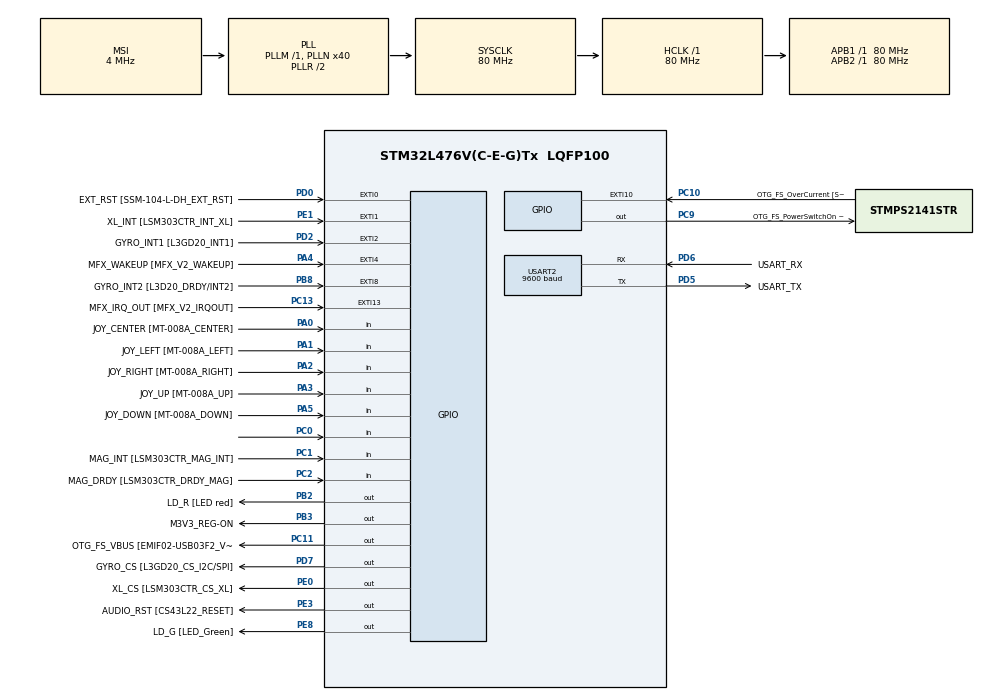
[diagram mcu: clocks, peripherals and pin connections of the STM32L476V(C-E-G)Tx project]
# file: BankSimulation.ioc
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FREERTOS.Tasks01=defaultTask,0,128,StartDefaultTask,Default,NULL
FREERTOS.configTOTAL_HEAP_SIZE=8096
Mcu.Family=STM32L4
Mcu.Name=STM32L476V(C-E-G)Tx
Mcu.Package=LQFP100
NVIC.PriorityGroup=NVIC_PRIORITYGROUP_4
NVIC.TIM1_UP_TIM16_IRQn=true\:0\:0\:false\:false\:true\:false\:false
NVIC.TIM2_IRQn=true\:5\:0\:false\:false\:true\:true\:true
NVIC.TimeBase=TIM1_UP_TIM16_IRQn
NVIC.TimeBaseIP=TIM1
NVIC.USART2_IRQn=true\:5\:0\:false\:false\:true\:true\:true
PA0.GPIO_Label=JOY_CENTER [MT-008A_CENTER]
PA0.GPIO_Mode=GPIO_MODE_INPUT
PA0.GPIO_PuPd=GPIO_PULLDOWN
PA0.Signal=GPIO_Input
PA1.GPIO_Label=JOY_LEFT [MT-008A_LEFT]
PA1.GPIO_Mode=GPIO_MODE_INPUT
PA1.GPIO_PuPd=GPIO_PULLDOWN
PA1.Signal=GPIO_Input
PA10.GPIO_Label=COM2 [GH08172T_COM2]
PA10.GPIO_Mode=GPIO_MODE_AF_PP
PA10.GPIO_PuPd=GPIO_NOPULL
PA10.GPIO_Speed=GPIO_SPEED_FREQ_LOW
PA10.Signal=LCD_COM2
PA11.GPIO_Label=OTG_FS_DM [EMIF02-USB03F2_D-out]
PA11.GPIO_Mode=GPIO_MODE_AF_PP
PA11.GPIO_PuPd=GPIO_NOPULL
PA11.GPIO_Speed=GPIO_SPEED_FREQ_VERY_HIGH
PA11.Signal=USB_OTG_FS_DM
PA12.GPIO_Label=OTG_FS_DP [EMIF02-USB03F2_D+out]
PA12.GPIO_Mode=GPIO_MODE_AF_PP
PA12.GPIO_PuPd=GPIO_NOPULL
PA12.GPIO_Speed=GPIO_SPEED_FREQ_VERY_HIGH
PA12.Signal=USB_OTG_FS_DP
PA13\ (JTMS-SWDIO).GPIO_Label=SWDIO
PA13\ (JTMS-SWDIO).Signal=SYS_JTMS-SWDIO
PA14\ (JTCK-SWCLK).GPIO_Label=SWCLK
PA14\ (JTCK-SWCLK).Signal=SYS_JTCK-SWCLK
PA15\ (JTDI).GPIO_Label=SEG10 [GH08172T_SEG10]
PA15\ (JTDI).GPIO_Mode=GPIO_MODE_AF_PP
PA15\ (JTDI).GPIO_PuPd=GPIO_NOPULL
PA15\ (JTDI).GPIO_Speed=GPIO_SPEED_FREQ_LOW
PA15\ (JTDI).Signal=LCD_SEG17
PA2.GPIO_Label=JOY_RIGHT [MT-008A_RIGHT]
PA2.GPIO_Mode=GPIO_MODE_INPUT
PA2.GPIO_PuPd=GPIO_PULLDOWN
PA2.Signal=GPIO_Input
PA3.GPIO_Label=JOY_UP [MT-008A_UP]
PA3.GPIO_Mode=GPIO_MODE_INPUT
PA3.GPIO_PuPd=GPIO_PULLDOWN
PA3.Signal=GPIO_Input
PA4.GPIO_Label=MFX_WAKEUP [MFX_V2_WAKEUP]
PA4.GPIO_ModeDefaultEXTI=GPIO_MODE_EVT_RISING
PA4.GPIO_PuPd=GPIO_NOPULL
PA4.Signal=GPXTI4
PA5.GPIO_Label=JOY_DOWN [MT-008A_DOWN]
PA5.GPIO_Mode=GPIO_MODE_INPUT
PA5.GPIO_PuPd=GPIO_PULLDOWN
PA5.Signal=GPIO_Input
PA6.GPIO_Label=SEG23 [GH08172T_SEG23]
PA6.GPIO_Mode=GPIO_MODE_AF_PP
PA6.GPIO_PuPd=GPIO_NOPULL
PA6.GPIO_Speed=GPIO_SPEED_FREQ_LOW
PA6.Signal=LCD_SEG3
PA7.GPIO_Label=SEG0 [GH08172T_SEG0]
PA7.GPIO_Mode=GPIO_MODE_AF_PP
PA7.GPIO_PuPd=GPIO_NOPULL
PA7.GPIO_Speed=GPIO_SPEED_FREQ_LOW
PA7.Signal=LCD_SEG4
PA8.GPIO_Label=COM0 [GH08172T_COM0]
PA8.GPIO_Mode=GPIO_MODE_AF_PP
PA8.GPIO_PuPd=GPIO_NOPULL
PA8.GPIO_Speed=GPIO_SPEED_FREQ_LOW
PA8.Signal=LCD_COM0
PA9.GPIO_Label=COM1 [GH08172T_COM1]
PA9.GPIO_Mode=GPIO_MODE_AF_PP
PA9.GPIO_PuPd=GPIO_NOPULL
PA9.GPIO_Speed=GPIO_SPEED_FREQ_LOW
PA9.Signal=LCD_COM1
PB0.GPIO_Label=SEG21 [GH08172T_SEG21]
PB0.GPIO_Mode=GPIO_MODE_AF_PP
PB0.GPIO_PuPd=GPIO_NOPULL
PB0.GPIO_Speed=GPIO_SPEED_FREQ_LOW
PB0.Signal=LCD_SEG5
PB1.GPIO_Label=SEG2 [GH08172T_SEG2]
PB1.GPIO_Mode=GPIO_MODE_AF_PP
PB1.GPIO_PuPd=GPIO_NOPULL
PB1.GPIO_Speed=GPIO_SPEED_FREQ_LOW
PB1.Signal=LCD_SEG6
PB10.GPIO_Label=MFX_I2C_SLC [MFX_V2_I2C_SCL]
PB10.GPIO_Mode=GPIO_MODE_AF_OD
PB10.GPIO_PuPdOD=GPIO_PULLUP
PB10.GPIO_Speed=GPIO_SPEED_FREQ_VERY_HIGH
PB10.Signal=I2C2_SCL
PB11.GPIO_Label=MFX_I2C_SDA [MFX_V2_I2C_SDA]
PB11.GPIO_Mode=GPIO_MODE_AF_OD
PB11.GPIO_PuPdOD=GPIO_PULLUP
PB11.GPIO_Speed=GPIO_SPEED_FREQ_VERY_HIGH
PB11.Signal=I2C2_SDA
PB12.GPIO_Label=SEG20 [GH08172T_SEG20]
PB12.GPIO_Mode=GPIO_MODE_AF_PP
PB12.GPIO_PuPd=GPIO_NOPULL
PB12.GPIO_Speed=GPIO_SPEED_FREQ_LOW
PB12.Signal=LCD_SEG12
PB13.GPIO_Label=SEG3 [GH08172T_SEG3]
PB13.GPIO_Mode=GPIO_MODE_AF_PP
PB13.GPIO_PuPd=GPIO_NOPULL
PB13.GPIO_Speed=GPIO_SPEED_FREQ_LOW
PB13.Signal=LCD_SEG13
PB14.GPIO_Label=SEG19 [GH08172T_SEG19]
PB14.GPIO_Mode=GPIO_MODE_AF_PP
PB14.GPIO_PuPd=GPIO_NOPULL
PB14.GPIO_Speed=GPIO_SPEED_FREQ_LOW
PB14.Signal=LCD_SEG14
PB15.GPIO_Label=SEG4 [GH08172T_SEG4]
PB15.GPIO_Mode=GPIO_MODE_AF_PP
PB15.GPIO_PuPd=GPIO_NOPULL
PB15.GPIO_Speed=GPIO_SPEED_FREQ_LOW
PB15.Signal=LCD_SEG15
PB2.GPIO_Label=LD_R [LED red]
PB2.GPIO_ModeDefaultOutputPP=GPIO_MODE_OUTPUT_PP
PB2.GPIO_PuPd=GPIO_PULLUP
PB2.GPIO_Speed=GPIO_SPEED_FREQ_VERY_HIGH
PB2.Signal=GPIO_Output
PB3\ (JTDO-TRACESWO).GPIO_Label=M3V3_REG-ON
PB3\ (JTDO-TRACESWO).GPIO_ModeDefaultOutputPP=GPIO_MODE_OUTPUT_PP
PB3\ (JTDO-TRACESWO).GPIO_PuPd=GPIO_NOPULL
PB3\ (JTDO-TRACESWO).GPIO_Speed=GPIO_SPEED_FREQ_LOW
PB3\ (JTDO-TRACESWO).Signal=GPIO_Output
PB4\ (NJTRST).GPIO_Label=SEG11 [GH08172T_SEG11]
PB4\ (NJTRST).GPIO_Mode=GPIO_MODE_AF_PP
PB4\ (NJTRST).GPIO_PuPd=GPIO_NOPULL
PB4\ (NJTRST).GPIO_Speed=GPIO_SPEED_FREQ_LOW
PB4\ (NJTRST).Signal=LCD_SEG8
PB5.GPIO_Label=SEG12 [GH08172T_SEG12]
PB5.GPIO_Mode=GPIO_MODE_AF_PP
PB5.GPIO_PuPd=GPIO_NOPULL
PB5.GPIO_Speed=GPIO_SPEED_FREQ_LOW
PB5.Signal=LCD_SEG9
PB6.GPIO_FM6=__NULL
PB6.GPIO_Label=I2C1_SCL [SSM-104-L-DH_SCL]
PB6.GPIO_Mode=GPIO_MODE_AF_OD
PB6.GPIO_PuPdOD=GPIO_PULLUP
PB6.GPIO_Speed=GPIO_SPEED_FREQ_VERY_HIGH
PB6.Signal=I2C1_SCL
PB7.GPIO_FM7=__NULL
PB7.GPIO_Label=I2C1_SDA [SSM-104-L-DH_SDA]
PB7.GPIO_Mode=GPIO_MODE_AF_OD
PB7.GPIO_PuPdOD=GPIO_PULLUP
PB7.GPIO_Speed=GPIO_SPEED_FREQ_VERY_HIGH
PB7.Signal=I2C1_SDA
PB8.GPIO_Label=GYRO_INT2 [L3D20_DRDY/INT2]
PB8.GPIO_ModeDefaultEXTI=GPIO_MODE_EVT_RISING
PB8.GPIO_PuPd=GPIO_NOPULL
PB8.Signal=GPXTI8
PB9.GPIO_FM9=__NULL
PB9.GPIO_Label=COM3 [GH08172T_COM3]
PB9.GPIO_Mode=GPIO_MODE_AF_PP
PB9.GPIO_PuPd=GPIO_NOPULL
PB9.GPIO_Speed=GPIO_SPEED_FREQ_LOW
PB9.Signal=LCD_COM3
PC0.Signal=GPIO_Input
PC1.GPIO_Label=MAG_INT [LSM303CTR_MAG_INT]
PC1.GPIO_Mode=GPIO_MODE_INPUT
PC1.GPIO_PuPd=GPIO_NOPULL
PC1.Signal=GPIO_Input
PC10.GPIO_Label=OTG_FS_OverCurrent [STMPS2141STR_FAULT]
PC10.GPIO_ModeDefaultEXTI=GPIO_MODE_EVT_RISING
PC10.GPIO_PuPd=GPIO_NOPULL
PC10.Signal=GPXTI10
PC11.GPIO_Label=OTG_FS_VBUS [EMIF02-USB03F2_Vbus]
PC11.GPIO_ModeDefaultOutputPP=GPIO_MODE_OUTPUT_PP
PC11.GPIO_PuPd=GPIO_NOPULL
PC11.GPIO_Speed=GPIO_SPEED_FREQ_LOW
PC11.Signal=GPIO_Output
PC13.GPIO_Label=MFX_IRQ_OUT [MFX_V2_IRQOUT]
PC13.GPIO_ModeDefaultEXTI=GPIO_MODE_EVT_RISING
PC13.GPIO_PuPd=GPIO_NOPULL
PC13.Signal=GPXTI13
PC14-OSC32_IN\ (PC14).Signal=RCC_OSC32_IN
PC15-OSC32_OUT\ (PC15).Signal=RCC_OSC32_OUT
PC2.GPIO_Label=MAG_DRDY [LSM303CTR_DRDY_MAG]
PC2.GPIO_Mode=GPIO_MODE_INPUT
PC2.GPIO_PuPd=GPIO_NOPULL
PC2.Signal=GPIO_Input
PC3.GPIO_Label=VLCD
PC3.GPIO_Mode=GPIO_MODE_AF_PP
PC3.GPIO_PuPd=GPIO_NOPULL
PC3.GPIO_Speed=GPIO_SPEED_FREQ_LOW
PC3.Signal=LCD_VLCD
PC4.GPIO_Label=SEG22 [GH08172T_SEG22]
PC4.GPIO_Mode=GPIO_MODE_AF_PP
PC4.GPIO_PuPd=GPIO_NOPULL
PC4.GPIO_Speed=GPIO_SPEED_FREQ_LOW
PC4.Signal=LCD_SEG22
PC5.GPIO_Label=SEG1 [GH08172T_SEG1]
PC5.GPIO_Mode=GPIO_MODE_AF_PP
PC5.GPIO_PuPd=GPIO_NOPULL
PC5.GPIO_Speed=GPIO_SPEED_FREQ_LOW
PC5.Signal=LCD_SEG23
PC6.GPIO_Label=SEG14 [GH08172T_SEG14]
PC6.GPIO_Mode=GPIO_MODE_AF_PP
PC6.GPIO_PuPd=GPIO_NOPULL
PC6.GPIO_Speed=GPIO_SPEED_FREQ_LOW
PC6.Signal=LCD_SEG24
PC7.GPIO_Label=SEG9 [GH08172T_SEG9]
PC7.GPIO_Mode=GPIO_MODE_AF_PP
PC7.GPIO_PuPd=GPIO_NOPULL
PC7.GPIO_Speed=GPIO_SPEED_FREQ_LOW
PC7.Signal=LCD_SEG25
PC8.GPIO_Label=SEG13 [GH08172T_SEG13]
PC8.GPIO_Mode=GPIO_MODE_AF_PP
PC8.GPIO_PuPd=GPIO_NOPULL
PC8.GPIO_Speed=GPIO_SPEED_FREQ_LOW
PC8.Signal=LCD_SEG26
PC9.GPIO_Label=OTG_FS_PowerSwitchOn [STMPS2141STR_EN]
PC9.GPIO_ModeDefaultOutputPP=GPIO_MODE_OUTPUT_PP
PC9.GPIO_PuPd=GPIO_NOPULL
PC9.GPIO_Speed=GPIO_SPEED_FREQ_LOW
PC9.PinState=GPIO_PIN_SET
PC9.Signal=GPIO_Output
PD0.GPIO_Label=EXT_RST [SSM-104-L-DH_EXT_RST]
PD0.GPIO_ModeDefaultEXTI=GPIO_MODE_EVT_RISING
PD0.GPIO_PuPd=GPIO_NOPULL
PD0.Signal=GPXTI0
PD1.GPIO_Label=MEMS_SCK [L3GD20_SCL/SPC]
PD1.GPIO_Mode=GPIO_MODE_AF_PP
PD1.GPIO_PuPd=GPIO_NOPULL
PD1.GPIO_Speed=GPIO_SPEED_FREQ_VERY_HIGH
PD1.Signal=SPI2_SCK
PD10.GPIO_Label=SEG17 [GH08172T_SEG17]
PD10.GPIO_Mode=GPIO_MODE_AF_PP
PD10.GPIO_PuPd=GPIO_NOPULL
PD10.GPIO_Speed=GPIO_SPEED_FREQ_LOW
PD10.Signal=LCD_SEG30
PD11.GPIO_Label=SEG6 [GH08172T_SEG6]
PD11.GPIO_Mode=GPIO_MODE_AF_PP
PD11.GPIO_PuPd=GPIO_NOPULL
PD11.GPIO_Speed=GPIO_SPEED_FREQ_LOW
PD11.Signal=LCD_SEG31
PD12.GPIO_Label=SEG16 [GH08172T_SEG16]
PD12.GPIO_Mode=GPIO_MODE_AF_PP
PD12.GPIO_PuPd=GPIO_NOPULL
PD12.GPIO_Speed=GPIO_SPEED_FREQ_LOW
PD12.Signal=LCD_SEG32
PD13.GPIO_Label=SEG7 [GH08172T_SEG7]
PD13.GPIO_Mode=GPIO_MODE_AF_PP
PD13.GPIO_PuPd=GPIO_NOPULL
PD13.GPIO_Speed=GPIO_SPEED_FREQ_LOW
PD13.Signal=LCD_SEG33
PD14.GPIO_Label=SEG15 [GH08172T_SEG15]
PD14.GPIO_Mode=GPIO_MODE_AF_PP
PD14.GPIO_PuPd=GPIO_NOPULL
PD14.GPIO_Speed=GPIO_SPEED_FREQ_LOW
PD14.Signal=LCD_SEG34
PD15.GPIO_Label=SEG8 [GH08172T_SEG8]
PD15.GPIO_Mode=GPIO_MODE_AF_PP
PD15.GPIO_PuPd=GPIO_NOPULL
PD15.GPIO_Speed=GPIO_SPEED_FREQ_LOW
PD15.Signal=LCD_SEG35
PD2.GPIO_Label=GYRO_INT1 [L3GD20_INT1]
PD2.GPIO_ModeDefaultEXTI=GPIO_MODE_EVT_RISING
PD2.GPIO_PuPd=GPIO_NOPULL
PD2.Signal=GPXTI2
PD3.GPIO_Label=MEMS_MISO [L3GD20_SA0/SDO]
PD3.GPIO_Mode=GPIO_MODE_AF_PP
PD3.GPIO_PuPd=GPIO_NOPULL
PD3.GPIO_Speed=GPIO_SPEED_FREQ_VERY_HIGH
PD3.Signal=SPI2_MISO
PD4.GPIO_Label=MEMS_MOSI [L3GD20_SDA/SDI/SDO]
PD4.GPIO_Mode=GPIO_MODE_AF_PP
PD4.GPIO_PuPd=GPIO_NOPULL
PD4.GPIO_Speed=GPIO_SPEED_FREQ_VERY_HIGH
PD4.Signal=SPI2_MOSI
PD5.GPIO_Label=USART_TX
PD5.GPIO_Mode=GPIO_MODE_AF_PP
PD5.GPIO_PuPd=GPIO_PULLUP
PD5.GPIO_Speed=GPIO_SPEED_FREQ_VERY_HIGH
PD5.Mode=Asynchronous
PD5.Signal=USART2_TX
PD6.GPIO_Label=USART_RX
PD6.GPIO_Mode=GPIO_MODE_AF_PP
PD6.GPIO_PuPd=GPIO_PULLUP
PD6.GPIO_Speed=GPIO_SPEED_FREQ_VERY_HIGH
PD6.Mode=Asynchronous
PD6.Signal=USART2_RX
PD7.GPIO_Label=GYRO_CS [L3GD20_CS_I2C/SPI]
PD7.GPIO_ModeDefaultOutputPP=GPIO_MODE_OUTPUT_PP
PD7.GPIO_PuPd=GPIO_NOPULL
PD7.GPIO_Speed=GPIO_SPEED_FREQ_VERY_HIGH
PD7.Signal=GPIO_Output
PD8.GPIO_Label=SEG18 [GH08172T_SEG18]
PD8.GPIO_Mode=GPIO_MODE_AF_PP
PD8.GPIO_PuPd=GPIO_NOPULL
PD8.GPIO_Speed=GPIO_SPEED_FREQ_LOW
PD8.Signal=LCD_SEG28
PD9.GPIO_Label=SEG5 [GH08172T_SEG5]
PD9.GPIO_Mode=GPIO_MODE_AF_PP
PD9.GPIO_PuPd=GPIO_NOPULL
PD9.GPIO_Speed=GPIO_SPEED_FREQ_LOW
PD9.Signal=LCD_SEG29
PE0.GPIO_Label=XL_CS [LSM303CTR_CS_XL]
PE0.GPIO_ModeDefaultOutputPP=GPIO_MODE_OUTPUT_PP
PE0.GPIO_PuPd=GPIO_NOPULL
PE0.GPIO_Speed=GPIO_SPEED_FREQ_LOW
PE0.Signal=GPIO_Output
PE1.GPIO_Label=XL_INT [LSM303CTR_INT_XL]
PE1.GPIO_ModeDefaultEXTI=GPIO_MODE_EVT_RISING
PE1.GPIO_PuPd=GPIO_NOPULL
PE1.Signal=GPXTI1
PE10.GPIO_Label=QSPI_CLK [N25Q128A13EF840E_C]
PE10.GPIO_Mode=GPIO_MODE_AF_PP
PE10.GPIO_PuPd=GPIO_NOPULL
PE10.GPIO_Speed=GPIO_SPEED_FREQ_VERY_HIGH
PE10.Signal=QUADSPI_CLK
PE11.GPIO_Label=QSPI_CS [N25Q128A13EF840E_S\#]
PE11.GPIO_Mode=GPIO_MODE_AF_PP
PE11.GPIO_PuPd=GPIO_NOPULL
PE11.GPIO_Speed=GPIO_SPEED_FREQ_VERY_HIGH
PE11.Signal=QUADSPI_NCS
PE12.GPIO_Label=QSPI_D0 [N25Q128A13EF840E_DQ0]
PE12.GPIO_Mode=GPIO_MODE_AF_PP
PE12.GPIO_PuPd=GPIO_NOPULL
PE12.GPIO_Speed=GPIO_SPEED_FREQ_VERY_HIGH
PE12.Signal=QUADSPI_BK1_IO0
PE13.GPIO_Label=QSPI_D1 [N25Q128A13EF840E_DQ1]
PE13.GPIO_Mode=GPIO_MODE_AF_PP
PE13.GPIO_PuPd=GPIO_NOPULL
PE13.GPIO_Speed=GPIO_SPEED_FREQ_VERY_HIGH
PE13.Signal=QUADSPI_BK1_IO1
PE14.GPIO_Label=QSPI_D2 [N25Q128A13EF840E_DQ2]
PE14.GPIO_Mode=GPIO_MODE_AF_PP
PE14.GPIO_PuPd=GPIO_NOPULL
PE14.GPIO_Speed=GPIO_SPEED_FREQ_VERY_HIGH
PE14.Signal=QUADSPI_BK1_IO2
PE15.GPIO_Label=QSPI_D3 [N25Q128A13EF840E_DQ3]
PE15.GPIO_Mode=GPIO_MODE_AF_PP
PE15.GPIO_PuPd=GPIO_NOPULL
PE15.GPIO_Speed=GPIO_SPEED_FREQ_VERY_HIGH
PE15.Signal=QUADSPI_BK1_IO3
PE2.GPIO_Label=SAI1_MCK [CS43L22_MCLK]
PE2.GPIO_Mode=GPIO_MODE_AF_PP
PE2.GPIO_PuPd=GPIO_NOPULL
PE2.GPIO_Speed=GPIO_SPEED_FREQ_VERY_HIGH
PE2.Signal=SAI1_MCLK_A
PE3.GPIO_Label=AUDIO_RST [CS43L22_RESET]
PE3.GPIO_ModeDefaultOutputPP=GPIO_MODE_OUTPUT_PP
PE3.GPIO_PuPd=GPIO_NOPULL
PE3.GPIO_Speed=GPIO_SPEED_FREQ_HIGH
PE3.Signal=GPIO_Output
PE4.GPIO_Label=SAI1_FS [CS43L22_LRCK]
PE4.GPIO_Mode=GPIO_MODE_AF_PP
PE4.GPIO_PuPd=GPIO_NOPULL
PE4.GPIO_Speed=GPIO_SPEED_FREQ_VERY_HIGH
PE4.Signal=SAI1_FS_A
PE5.GPIO_Label=SAI1_SCK [CS43L22_SCLK]
PE5.GPIO_Mode=GPIO_MODE_AF_PP
PE5.GPIO_PuPd=GPIO_NOPULL
PE5.GPIO_Speed=GPIO_SPEED_FREQ_VERY_HIGH
PE5.Signal=SAI1_SCK_A
PE6.GPIO_Label=SAI1_SD [CS43L22_SDIN]
PE6.GPIO_Mode=GPIO_MODE_AF_PP
PE6.GPIO_PuPd=GPIO_NOPULL
PE6.GPIO_Speed=GPIO_SPEED_FREQ_VERY_HIGH
PE6.Signal=SAI1_SD_A
PE7.GPIO_Label=AUDIO_DIN [MP34DT01_DOUT]
PE7.GPIO_Mode=GPIO_MODE_AF_PP
PE7.GPIO_PuPd=GPIO_NOPULL
PE7.GPIO_Speed=GPIO_SPEED_FREQ_VERY_HIGH
PE7.Signal=SAI1_SD_B
PE8.GPIO_Label=LD_G [LED_Green]
PE8.GPIO_ModeDefaultOutputPP=GPIO_MODE_OUTPUT_PP
PE8.GPIO_PuPd=GPIO_PULLUP
PE8.GPIO_Speed=GPIO_SPEED_FREQ_VERY_HIGH
PE8.Signal=GPIO_Output
PE9.GPIO_Label=AUDIO_CLK [MP34DT01_CLK]
PE9.GPIO_Mode=GPIO_MODE_AF_PP
PE9.GPIO_PuPd=GPIO_NOPULL
PE9.GPIO_Speed=GPIO_SPEED_FREQ_LOW
PE9.Signal=SAI1_FS_B
PH0-OSC_IN\ (PH0).Signal=RCC_OSC_IN
PH1-OSC_OUT\ (PH1).Signal=RCC_OSC_OUT
ProjectManager.HeapSize=0x200
ProjectManager.StackSize=0x400
ProjectManager.TargetToolchain=MDK-ARM V5
RCC.ADCFreq_Value=32000000
RCC.AHBFreq_Value=80000000
RCC.APB1Freq_Value=80000000
RCC.APB1TimFreq_Value=80000000
RCC.APB2Freq_Value=80000000
RCC.APB2TimFreq_Value=80000000
RCC.CortexFreq_Value=80000000
RCC.HCLKFreq_Value=80000000
RCC.HSE_VALUE=8000000
RCC.HSI_VALUE=16000000
RCC.LSE_VALUE=32768
RCC.MSI_VALUE=4000000
RCC.PLLN=40
RCC.PLLSAI1N=16
RCC.PREFETCH_ENABLE=1
RCC.SYSCLKFreq_VALUE=80000000
RCC.SYSCLKSource=RCC_SYSCLKSOURCE_PLLCLK
RCC.USBFreq_Value=32000000
RCC.VCOOutputFreq_Value=160000000
TIM2.Channel-Output\ Compare1\ No\ Output=TIM_CHANNEL_1
USART2.BaudRate=9600
USART2.Parity=PARITY_NONE
USART2.VirtualMode-Asynchronous=VM_ASYNC
VP_FREERTOS_VS_ENABLE.Mode=Enabled
VP_RNG_VS_RNG.Mode=RNG_Activate
VP_SYS_VS_tim1.Mode=TIM1
VP_TIM2_VS_ClockSourceINT.Mode=Internal
VP_TIM2_VS_no_output1.Mode=Output Compare1 No Output
board=32L476GDISCOVERY

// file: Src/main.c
/* USER CODE BEGIN Header */
/**
  ******************************************************************************
  * @file           : main.c
  * @brief          : Main program body
  ******************************************************************************
  * This notice applies to any and all portions of this file
  * that are not between comment pairs USER CODE BEGIN and
  * USER CODE END. Other portions of this file, whether
  * inserted by the user or by software development tools
  * are owned by their respective copyright owners.
  *
  * Copyright (c) 2019 STMicroelectronics International N.V.
  * All rights reserved.
  *
  * Redistribution and use in source and binary forms, with or without
  * modification, are permitted, provided that the following conditions are met:
  *
  * 1. Redistribution of source code must retain the above copyright notice,
  *    this list of conditions and the following disclaimer.
  * 2. Redistributions in binary form must reproduce the above copyright notice,
  *    this list of conditions and the following disclaimer in the documentation
  *    and/or other materials provided with the distribution.
  * 3. Neither the name of STMicroelectronics nor the names of other
  *    contributors to this software may be used to endorse or promote products
  *    derived from this software without specific written permission.
  * 4. This software, including modifications and/or derivative works of this
  *    software, must execute solely and exclusively on microcontroller or
  *    microprocessor devices manufactured by or for STMicroelectronics.
  * 5. Redistribution and use of this software other than as permitted under
  *    this license is void and will automatically terminate your rights under
  *    this license.
  *
  * THIS SOFTWARE IS PROVIDED BY STMICROELECTRONICS AND CONTRIBUTORS "AS IS"
  * AND ANY EXPRESS, IMPLIED OR STATUTORY WARRANTIES, INCLUDING, BUT NOT
  * LIMITED TO, THE IMPLIED WARRANTIES OF MERCHANTABILITY, FITNESS FOR A
  * PARTICULAR PURPOSE AND NON-INFRINGEMENT OF THIRD PARTY INTELLECTUAL PROPERTY
  * RIGHTS ARE DISCLAIMED TO THE FULLEST EXTENT PERMITTED BY LAW. IN NO EVENT
  * SHALL STMICROELECTRONICS OR CONTRIBUTORS BE LIABLE FOR ANY DIRECT, INDIRECT,
  * INCIDENTAL, SPECIAL, EXEMPLARY, OR CONSEQUENTIAL DAMAGES (INCLUDING, BUT NOT
  * LIMITED TO, PROCUREMENT OF SUBSTITUTE GOODS OR SERVICES; LOSS OF USE, DATA,
  * OR PROFITS; OR BUSINESS INTERRUPTION) HOWEVER CAUSED AND ON ANY THEORY OF
  * LIABILITY, WHETHER IN CONTRACT, STRICT LIABILITY, OR TORT (INCLUDING
  * NEGLIGENCE OR OTHERWISE) ARISING IN ANY WAY OUT OF THE USE OF THIS SOFTWARE,
  * EVEN IF ADVISED OF THE POSSIBILITY OF SUCH DAMAGE.
  *
  ******************************************************************************
  */
/* USER CODE END Header */

#include "main.h"
#include <stdio.h>
#include <string.h>
#include "cmsis_os.h"
#include "bank_simulation.h"
#include "Timer_3_PIT.h"

RNG_HandleTypeDef hrng;

TIM_HandleTypeDef htim2;

UART_HandleTypeDef huart2;

TaskHandle_t hteller_1;
TaskHandle_t hteller_2;
TaskHandle_t hteller_3;

SemaphoreHandle_t mutex;

osThreadId defaultTaskHandle;
/* USER CODE BEGIN PV */
struct Teller* tellers[3];
/* USER CODE END PV */

void SystemClock_Config(void);
static void MX_GPIO_Init(void);
static void MX_USART2_UART_Init(void);
static void MX_RNG_Init(void);
static void MX_TIM2_Init(void);
void StartDefaultTask(void const * argument);

/* USER CODE BEGIN PFP */
void green_led_toggle();
void red_led_toggle();
/* USER CODE END PFP */

/* USER CODE BEGIN 0 */
void green_led_toggle()
{
	GPIOE->ODR ^= GPIO_ODR_ODR_8;
	for(int i = 0; i < 1000; i++){}
}

void generate_tellers()
{
	for(int i = 0; i < 3; i++)
	{
		struct Teller* customer = createTeller(i + 1);
		tellers[i] = customer;
	}
}

void red_led_toggle()
{
	GPIOB->ODR ^= GPIO_ODR_ODR_2;
	for(int i = 0; i < 1000; i++){}
}

void vTask1( void *pvParameters )
{
	const char *pcTaskName = "Task 1 is running\r\n";
	volatile uint32_t ul; /* volatile to ensure ul is not optimized away. */
	 /* As per most tasks, this task is implemented in an infinite loop. */
	 for( ;; )
	 {
		 /* Print out the name of this task. */
		 green_led_toggle();
		 vTaskDelay(100);
	 }
}

void vTask2( void *pvParameters )
{
	const char *pcTaskName = "Task 2\r\n";
	volatile uint32_t ul; /* volatile to ensure ul is not optimized away. */
	 /* As per most tasks, this task is implemented in an infinite loop. */
	 for( ;; )
	 {
		 /* Print out the name of this task. */
		 red_led_toggle();
		 uint8_t output_to_console[] = "Task 2\n\r";
		 HAL_UART_Transmit(&huart2,output_to_console,19,10);
		 vTaskDelay(100);
	 }
}
/* USER CODE END 0 */

int main(void)
{

  /* MCU Configuration--------------------------------------------------------*/

  /* Reset of all peripherals, Initializes the Flash interface and the Systick. */
  HAL_Init();

  /* Configure the system clock */
  SystemClock_Config();

  /* Initialize all configured peripherals */
  MX_GPIO_Init();
  MX_USART2_UART_Init();
  MX_RNG_Init();
  MX_TIM2_Init();

   //queue_init();
	Timer3_Init();
	mutex = xSemaphoreCreateMutex();
  /* USER CODE BEGIN 2 */

	/* Create one of the two tasks. Note that a real application should check
	 the return value of the xTaskCreate() call to ensure the task was created
	 successfully. */
	 xTaskCreate( vTask1, /* Pointer to the function that implements the task. */
		"Task 1",/* Text name for the task. This is to facilitate
		debugging only. */
		100, /* Stack depth - small microcontrollers will use much
		less stack than this. */
		NULL, /* This example does not use the task parameter. */
		1, /* This task will run at priority 1. */
		NULL ); /* This example does not use the task handle. */
		/* Create the other task in exactly the same way and at the same priority. */
	 generate_pool();
	 generate_tellers();
	 //xTaskCreate(vCustomer_Gen, "Customer Generation", 100, NULL, 1, NULL);
	 xTaskCreate(vTeller, "Teller task 1", 100, (void *)tellers[0], 2, &hteller_1);
	 xTaskCreate(vTeller, "Teller task 2", 100, (void *)tellers[1], 2, &hteller_2);
	 xTaskCreate(vTeller, "Teller task 3", 100, (void *)tellers[2], 2, &hteller_3);
	 xTaskCreate(vMetric, "Bank Manager", 100, NULL, 5, NULL);
  /* USER CODE END 2 */

  /* Create the thread(s) */
  /* definition and creation of defaultTask */
  osThreadDef(defaultTask, StartDefaultTask, osPriorityNormal, 0, 128);
  defaultTaskHandle = osThreadCreate(osThread(defaultTask), NULL);

  /* Start scheduler */
  osKernelStart();
  /* Start the scheduler so the tasks start executing. */
   vTaskStartScheduler();
  /* We should never get here as control is now taken by the scheduler */

  /* Infinite loop */
  while (1)
  {

  }
}

void SystemClock_Config(void)
{
  RCC_OscInitTypeDef RCC_OscInitStruct = {0};
  RCC_ClkInitTypeDef RCC_ClkInitStruct = {0};
  RCC_PeriphCLKInitTypeDef PeriphClkInit = {0};

  /**Initializes the CPU, AHB and APB busses clocks
  */
  RCC_OscInitStruct.OscillatorType = RCC_OSCILLATORTYPE_MSI;
  RCC_OscInitStruct.MSIState = RCC_MSI_ON;
  RCC_OscInitStruct.MSICalibrationValue = 0;
  RCC_OscInitStruct.MSIClockRange = RCC_MSIRANGE_6;
  RCC_OscInitStruct.PLL.PLLState = RCC_PLL_ON;
  RCC_OscInitStruct.PLL.PLLSource = RCC_PLLSOURCE_MSI;
  RCC_OscInitStruct.PLL.PLLM = 1;
  RCC_OscInitStruct.PLL.PLLN = 40;
  RCC_OscInitStruct.PLL.PLLP = RCC_PLLP_DIV7;
  RCC_OscInitStruct.PLL.PLLQ = RCC_PLLQ_DIV2;
  RCC_OscInitStruct.PLL.PLLR = RCC_PLLR_DIV2;
  if (HAL_RCC_OscConfig(&RCC_OscInitStruct) != HAL_OK)
  {
    Error_Handler();
  }
  /**Initializes the CPU, AHB and APB busses clocks
  */
  RCC_ClkInitStruct.ClockType = RCC_CLOCKTYPE_HCLK|RCC_CLOCKTYPE_SYSCLK
                              |RCC_CLOCKTYPE_PCLK1|RCC_CLOCKTYPE_PCLK2;
  RCC_ClkInitStruct.SYSCLKSource = RCC_SYSCLKSOURCE_PLLCLK;
  RCC_ClkInitStruct.AHBCLKDivider = RCC_SYSCLK_DIV1;
  RCC_ClkInitStruct.APB1CLKDivider = RCC_HCLK_DIV1;
  RCC_ClkInitStruct.APB2CLKDivider = RCC_HCLK_DIV1;

  if (HAL_RCC_ClockConfig(&RCC_ClkInitStruct, FLASH_LATENCY_4) != HAL_OK)
  {
    Error_Handler();
  }
  PeriphClkInit.PeriphClockSelection = RCC_PERIPHCLK_USART2|RCC_PERIPHCLK_RNG;
  PeriphClkInit.Usart2ClockSelection = RCC_USART2CLKSOURCE_PCLK1;
  PeriphClkInit.RngClockSelection = RCC_RNGCLKSOURCE_PLLSAI1;
  PeriphClkInit.PLLSAI1.PLLSAI1Source = RCC_PLLSOURCE_MSI;
  PeriphClkInit.PLLSAI1.PLLSAI1M = 1;
  PeriphClkInit.PLLSAI1.PLLSAI1N = 16;
  PeriphClkInit.PLLSAI1.PLLSAI1P = RCC_PLLP_DIV7;
  PeriphClkInit.PLLSAI1.PLLSAI1Q = RCC_PLLQ_DIV2;
  PeriphClkInit.PLLSAI1.PLLSAI1R = RCC_PLLR_DIV2;
  PeriphClkInit.PLLSAI1.PLLSAI1ClockOut = RCC_PLLSAI1_48M2CLK;
  if (HAL_RCCEx_PeriphCLKConfig(&PeriphClkInit) != HAL_OK)
  {
    Error_Handler();
  }
  /**Configure the main internal regulator output voltage
  */
  if (HAL_PWREx_ControlVoltageScaling(PWR_REGULATOR_VOLTAGE_SCALE1) != HAL_OK)
  {
    Error_Handler();
  }
}

static void MX_RNG_Init(void)
{

  hrng.Instance = RNG;
  if (HAL_RNG_Init(&hrng) != HAL_OK)
  {
    Error_Handler();
  }

}

static void MX_TIM2_Init(void)
{

  TIM_ClockConfigTypeDef sClockSourceConfig = {0};
  TIM_MasterConfigTypeDef sMasterConfig = {0};
  TIM_OC_InitTypeDef sConfigOC = {0};

  htim2.Instance = TIM2;
  htim2.Init.Prescaler = 0;
  htim2.Init.CounterMode = TIM_COUNTERMODE_UP;
  htim2.Init.Period = 0;
  htim2.Init.ClockDivision = TIM_CLOCKDIVISION_DIV1;
  htim2.Init.AutoReloadPreload = TIM_AUTORELOAD_PRELOAD_DISABLE;
  if (HAL_TIM_Base_Init(&htim2) != HAL_OK)
  {
    Error_Handler();
  }
  sClockSourceConfig.ClockSource = TIM_CLOCKSOURCE_INTERNAL;
  if (HAL_TIM_ConfigClockSource(&htim2, &sClockSourceConfig) != HAL_OK)
  {
    Error_Handler();
  }
  if (HAL_TIM_OC_Init(&htim2) != HAL_OK)
  {
    Error_Handler();
  }
  sMasterConfig.MasterOutputTrigger = TIM_TRGO_RESET;
  sMasterConfig.MasterSlaveMode = TIM_MASTERSLAVEMODE_DISABLE;
  if (HAL_TIMEx_MasterConfigSynchronization(&htim2, &sMasterConfig) != HAL_OK)
  {
    Error_Handler();
  }
  sConfigOC.OCMode = TIM_OCMODE_TIMING;
  sConfigOC.Pulse = 0;
  sConfigOC.OCPolarity = TIM_OCPOLARITY_HIGH;
  sConfigOC.OCFastMode = TIM_OCFAST_DISABLE;
  if (HAL_TIM_OC_ConfigChannel(&htim2, &sConfigOC, TIM_CHANNEL_1) != HAL_OK)
  {
    Error_Handler();
  }

}

static void MX_USART2_UART_Init(void)
{

  huart2.Instance = USART2;
  huart2.Init.BaudRate = 9600;
  huart2.Init.WordLength = UART_WORDLENGTH_8B;
  huart2.Init.StopBits = UART_STOPBITS_1;
  huart2.Init.Parity = UART_PARITY_NONE;
  huart2.Init.Mode = UART_MODE_TX_RX;
  huart2.Init.HwFlowCtl = UART_HWCONTROL_NONE;
  huart2.Init.OverSampling = UART_OVERSAMPLING_16;
  huart2.Init.OneBitSampling = UART_ONE_BIT_SAMPLE_DISABLE;
  huart2.AdvancedInit.AdvFeatureInit = UART_ADVFEATURE_NO_INIT;
  if (HAL_UART_Init(&huart2) != HAL_OK)
  {
    Error_Handler();
  }

}

static void MX_GPIO_Init(void)
{
  GPIO_InitTypeDef GPIO_InitStruct = {0};

  /* GPIO Ports Clock Enable */
  __HAL_RCC_GPIOE_CLK_ENABLE();
  __HAL_RCC_GPIOC_CLK_ENABLE();
  __HAL_RCC_GPIOH_CLK_ENABLE();
  __HAL_RCC_GPIOA_CLK_ENABLE();
  __HAL_RCC_GPIOB_CLK_ENABLE();
  __HAL_RCC_GPIOD_CLK_ENABLE();

  /*Configure GPIO pin Output Level */
  HAL_GPIO_WritePin(GPIOE, AUDIO_RST_Pin|LD_G_Pin|XL_CS_Pin, GPIO_PIN_RESET);

  /*Configure GPIO pin Output Level */
  HAL_GPIO_WritePin(GPIOB, LD_R_Pin|M3V3_REG_ON_Pin, GPIO_PIN_RESET);

  /*Configure GPIO pin Output Level */
  HAL_GPIO_WritePin(OTG_FS_PowerSwitchOn_GPIO_Port, OTG_FS_PowerSwitchOn_Pin, GPIO_PIN_SET);

  /*Configure GPIO pin Output Level */
  HAL_GPIO_WritePin(OTG_FS_VBUS_GPIO_Port, OTG_FS_VBUS_Pin, GPIO_PIN_RESET);

  /*Configure GPIO pin Output Level */
  HAL_GPIO_WritePin(GYRO_CS_GPIO_Port, GYRO_CS_Pin, GPIO_PIN_RESET);

  /*Configure GPIO pins : SAI1_MCK_Pin SAI1_FS_Pin SAI1_SCK_Pin SAI1_SD_Pin
                           AUDIO_DIN_Pin */
  GPIO_InitStruct.Pin = SAI1_MCK_Pin|SAI1_FS_Pin|SAI1_SCK_Pin|SAI1_SD_Pin
                          |AUDIO_DIN_Pin;
  GPIO_InitStruct.Mode = GPIO_MODE_AF_PP;
  GPIO_InitStruct.Pull = GPIO_NOPULL;
  GPIO_InitStruct.Speed = GPIO_SPEED_FREQ_VERY_HIGH;
  GPIO_InitStruct.Alternate = GPIO_AF13_SAI1;
  HAL_GPIO_Init(GPIOE, &GPIO_InitStruct);

  /*Configure GPIO pin : AUDIO_RST_Pin */
  GPIO_InitStruct.Pin = AUDIO_RST_Pin;
  GPIO_InitStruct.Mode = GPIO_MODE_OUTPUT_PP;
  GPIO_InitStruct.Pull = GPIO_NOPULL;
  GPIO_InitStruct.Speed = GPIO_SPEED_FREQ_HIGH;
  HAL_GPIO_Init(AUDIO_RST_GPIO_Port, &GPIO_InitStruct);

  /*Configure GPIO pins : MFX_IRQ_OUT_Pin OTG_FS_OverCurrent_Pin */
  GPIO_InitStruct.Pin = MFX_IRQ_OUT_Pin|OTG_FS_OverCurrent_Pin;
  GPIO_InitStruct.Mode = GPIO_MODE_EVT_RISING;
  GPIO_InitStruct.Pull = GPIO_NOPULL;
  HAL_GPIO_Init(GPIOC, &GPIO_InitStruct);

  /*Configure GPIO pins : PC0 MAG_INT_Pin MAG_DRDY_Pin */
  GPIO_InitStruct.Pin = GPIO_PIN_0|MAG_INT_Pin|MAG_DRDY_Pin;
  GPIO_InitStruct.Mode = GPIO_MODE_INPUT;
  GPIO_InitStruct.Pull = GPIO_NOPULL;
  HAL_GPIO_Init(GPIOC, &GPIO_InitStruct);

  /*Configure GPIO pins : VLCD_Pin SEG22_Pin SEG1_Pin SEG14_Pin
                           SEG9_Pin SEG13_Pin */
  GPIO_InitStruct.Pin = VLCD_Pin|SEG22_Pin|SEG1_Pin|SEG14_Pin
                          |SEG9_Pin|SEG13_Pin;
  GPIO_InitStruct.Mode = GPIO_MODE_AF_PP;
  GPIO_InitStruct.Pull = GPIO_NOPULL;
  GPIO_InitStruct.Speed = GPIO_SPEED_FREQ_LOW;
  GPIO_InitStruct.Alternate = GPIO_AF11_LCD;
  HAL_GPIO_Init(GPIOC, &GPIO_InitStruct);

  /*Configure GPIO pins : JOY_CENTER_Pin JOY_LEFT_Pin JOY_RIGHT_Pin JOY_UP_Pin
                           JOY_DOWN_Pin */
  GPIO_InitStruct.Pin = JOY_CENTER_Pin|JOY_LEFT_Pin|JOY_RIGHT_Pin|JOY_UP_Pin
                          |JOY_DOWN_Pin;
  GPIO_InitStruct.Mode = GPIO_MODE_INPUT;
  GPIO_InitStruct.Pull = GPIO_PULLDOWN;
  HAL_GPIO_Init(GPIOA, &GPIO_InitStruct);

  /*Configure GPIO pin : MFX_WAKEUP_Pin */
  GPIO_InitStruct.Pin = MFX_WAKEUP_Pin;
  GPIO_InitStruct.Mode = GPIO_MODE_EVT_RISING;
  GPIO_InitStruct.Pull = GPIO_NOPULL;
  HAL_GPIO_Init(MFX_WAKEUP_GPIO_Port, &GPIO_InitStruct);

  /*Configure GPIO pins : SEG23_Pin SEG0_Pin COM0_Pin COM1_Pin
                           COM2_Pin SEG10_Pin */
  GPIO_InitStruct.Pin = SEG23_Pin|SEG0_Pin|COM0_Pin|COM1_Pin
                          |COM2_Pin|SEG10_Pin;
  GPIO_InitStruct.Mode = GPIO_MODE_AF_PP;
  GPIO_InitStruct.Pull = GPIO_NOPULL;
  GPIO_InitStruct.Speed = GPIO_SPEED_FREQ_LOW;
  GPIO_InitStruct.Alternate = GPIO_AF11_LCD;
  HAL_GPIO_Init(GPIOA, &GPIO_InitStruct);

  /*Configure GPIO pins : SEG21_Pin SEG2_Pin SEG20_Pin SEG3_Pin
                           SEG19_Pin SEG4_Pin SEG11_Pin SEG12_Pin
                           COM3_Pin */
  GPIO_InitStruct.Pin = SEG21_Pin|SEG2_Pin|SEG20_Pin|SEG3_Pin
                          |SEG19_Pin|SEG4_Pin|SEG11_Pin|SEG12_Pin
                          |COM3_Pin;
  GPIO_InitStruct.Mode = GPIO_MODE_AF_PP;
  GPIO_InitStruct.Pull = GPIO_NOPULL;
  GPIO_InitStruct.Speed = GPIO_SPEED_FREQ_LOW;
  GPIO_InitStruct.Alternate = GPIO_AF11_LCD;
  HAL_GPIO_Init(GPIOB, &GPIO_InitStruct);

  /*Configure GPIO pin : LD_R_Pin */
  GPIO_InitStruct.Pin = LD_R_Pin;
  GPIO_InitStruct.Mode = GPIO_MODE_OUTPUT_PP;
  GPIO_InitStruct.Pull = GPIO_PULLUP;
  GPIO_InitStruct.Speed = GPIO_SPEED_FREQ_VERY_HIGH;
  HAL_GPIO_Init(LD_R_GPIO_Port, &GPIO_InitStruct);

  /*Configure GPIO pin : LD_G_Pin */
  GPIO_InitStruct.Pin = LD_G_Pin;
  GPIO_InitStruct.Mode = GPIO_MODE_OUTPUT_PP;
  GPIO_InitStruct.Pull = GPIO_PULLUP;
  GPIO_InitStruct.Speed = GPIO_SPEED_FREQ_VERY_HIGH;
  HAL_GPIO_Init(LD_G_GPIO_Port, &GPIO_InitStruct);

  /*Configure GPIO pin : AUDIO_CLK_Pin */
  GPIO_InitStruct.Pin = AUDIO_CLK_Pin;
  GPIO_InitStruct.Mode = GPIO_MODE_AF_PP;
  GPIO_InitStruct.Pull = GPIO_NOPULL;
  GPIO_InitStruct.Speed = GPIO_SPEED_FREQ_LOW;
  GPIO_InitStruct.Alternate = GPIO_AF13_SAI1;
  HAL_GPIO_Init(AUDIO_CLK_GPIO_Port, &GPIO_InitStruct);

  /*Configure GPIO pins : QSPI_CLK_Pin QSPI_CS_Pin QSPI_D0_Pin QSPI_D1_Pin
                           QSPI_D2_Pin QSPI_D3_Pin */
  GPIO_InitStruct.Pin = QSPI_CLK_Pin|QSPI_CS_Pin|QSPI_D0_Pin|QSPI_D1_Pin
                          |QSPI_D2_Pin|QSPI_D3_Pin;
  GPIO_InitStruct.Mode = GPIO_MODE_AF_PP;
  GPIO_InitStruct.Pull = GPIO_NOPULL;
  GPIO_InitStruct.Speed = GPIO_SPEED_FREQ_VERY_HIGH;
  GPIO_InitStruct.Alternate = GPIO_AF10_QUADSPI;
  HAL_GPIO_Init(GPIOE, &GPIO_InitStruct);

  /*Configure GPIO pins : MFX_I2C_SLC_Pin MFX_I2C_SDA_Pin */
  GPIO_InitStruct.Pin = MFX_I2C_SLC_Pin|MFX_I2C_SDA_Pin;
  GPIO_InitStruct.Mode = GPIO_MODE_AF_OD;
  GPIO_InitStruct.Pull = GPIO_PULLUP;
  GPIO_InitStruct.Speed = GPIO_SPEED_FREQ_VERY_HIGH;
  GPIO_InitStruct.Alternate = GPIO_AF4_I2C2;
  HAL_GPIO_Init(GPIOB, &GPIO_InitStruct);

  /*Configure GPIO pins : SEG18_Pin SEG5_Pin SEG17_Pin SEG6_Pin
                           SEG16_Pin SEG7_Pin SEG15_Pin SEG8_Pin */
  GPIO_InitStruct.Pin = SEG18_Pin|SEG5_Pin|SEG17_Pin|SEG6_Pin
                          |SEG16_Pin|SEG7_Pin|SEG15_Pin|SEG8_Pin;
  GPIO_InitStruct.Mode = GPIO_MODE_AF_PP;
  GPIO_InitStruct.Pull = GPIO_NOPULL;
  GPIO_InitStruct.Speed = GPIO_SPEED_FREQ_LOW;
  GPIO_InitStruct.Alternate = GPIO_AF11_LCD;
  HAL_GPIO_Init(GPIOD, &GPIO_InitStruct);

  /*Configure GPIO pins : OTG_FS_PowerSwitchOn_Pin OTG_FS_VBUS_Pin */
  GPIO_InitStruct.Pin = OTG_FS_PowerSwitchOn_Pin|OTG_FS_VBUS_Pin;
  GPIO_InitStruct.Mode = GPIO_MODE_OUTPUT_PP;
  GPIO_InitStruct.Pull = GPIO_NOPULL;
  GPIO_InitStruct.Speed = GPIO_SPEED_FREQ_LOW;
  HAL_GPIO_Init(GPIOC, &GPIO_InitStruct);

  /*Configure GPIO pins : OTG_FS_DM_Pin OTG_FS_DP_Pin */
  GPIO_InitStruct.Pin = OTG_FS_DM_Pin|OTG_FS_DP_Pin;
  GPIO_InitStruct.Mode = GPIO_MODE_AF_PP;
  GPIO_InitStruct.Pull = GPIO_NOPULL;
  GPIO_InitStruct.Speed = GPIO_SPEED_FREQ_VERY_HIGH;
  GPIO_InitStruct.Alternate = GPIO_AF10_OTG_FS;
  HAL_GPIO_Init(GPIOA, &GPIO_InitStruct);

  /*Configure GPIO pins : EXT_RST_Pin GYRO_INT1_Pin */
  GPIO_InitStruct.Pin = EXT_RST_Pin|GYRO_INT1_Pin;
  GPIO_InitStruct.Mode = GPIO_MODE_EVT_RISING;
  GPIO_InitStruct.Pull = GPIO_NOPULL;
  HAL_GPIO_Init(GPIOD, &GPIO_InitStruct);

  /*Configure GPIO pins : MEMS_SCK_Pin MEMS_MISO_Pin MEMS_MOSI_Pin */
  GPIO_InitStruct.Pin = MEMS_SCK_Pin|MEMS_MISO_Pin|MEMS_MOSI_Pin;
  GPIO_InitStruct.Mode = GPIO_MODE_AF_PP;
  GPIO_InitStruct.Pull = GPIO_NOPULL;
  GPIO_InitStruct.Speed = GPIO_SPEED_FREQ_VERY_HIGH;
  GPIO_InitStruct.Alternate = GPIO_AF5_SPI2;
  HAL_GPIO_Init(GPIOD, &GPIO_InitStruct);

  /*Configure GPIO pin : GYRO_CS_Pin */
  GPIO_InitStruct.Pin = GYRO_CS_Pin;
  GPIO_InitStruct.Mode = GPIO_MODE_OUTPUT_PP;
  GPIO_InitStruct.Pull = GPIO_NOPULL;
  GPIO_InitStruct.Speed = GPIO_SPEED_FREQ_VERY_HIGH;
  HAL_GPIO_Init(GYRO_CS_GPIO_Port, &GPIO_InitStruct);

  /*Configure GPIO pin : M3V3_REG_ON_Pin */
  GPIO_InitStruct.Pin = M3V3_REG_ON_Pin;
  GPIO_InitStruct.Mode = GPIO_MODE_OUTPUT_PP;
  GPIO_InitStruct.Pull = GPIO_NOPULL;
  GPIO_InitStruct.Speed = GPIO_SPEED_FREQ_LOW;
  HAL_GPIO_Init(M3V3_REG_ON_GPIO_Port, &GPIO_InitStruct);

  /*Configure GPIO pins : I2C1_SCL_Pin I2C1_SDA_Pin */
  GPIO_InitStruct.Pin = I2C1_SCL_Pin|I2C1_SDA_Pin;
  GPIO_InitStruct.Mode = GPIO_MODE_AF_OD;
  GPIO_InitStruct.Pull = GPIO_PULLUP;
  GPIO_InitStruct.Speed = GPIO_SPEED_FREQ_VERY_HIGH;
  GPIO_InitStruct.Alternate = GPIO_AF4_I2C1;
  HAL_GPIO_Init(GPIOB, &GPIO_InitStruct);

  /*Configure GPIO pin : GYRO_INT2_Pin */
  GPIO_InitStruct.Pin = GYRO_INT2_Pin;
  GPIO_InitStruct.Mode = GPIO_MODE_EVT_RISING;
  GPIO_InitStruct.Pull = GPIO_NOPULL;
  HAL_GPIO_Init(GYRO_INT2_GPIO_Port, &GPIO_InitStruct);

  /*Configure GPIO pin : XL_CS_Pin */
  GPIO_InitStruct.Pin = XL_CS_Pin;
  GPIO_InitStruct.Mode = GPIO_MODE_OUTPUT_PP;
  GPIO_InitStruct.Pull = GPIO_NOPULL;
  GPIO_InitStruct.Speed = GPIO_SPEED_FREQ_LOW;
  HAL_GPIO_Init(XL_CS_GPIO_Port, &GPIO_InitStruct);

  /*Configure GPIO pin : XL_INT_Pin */
  GPIO_InitStruct.Pin = XL_INT_Pin;
  GPIO_InitStruct.Mode = GPIO_MODE_EVT_RISING;
  GPIO_InitStruct.Pull = GPIO_NOPULL;
  HAL_GPIO_Init(XL_INT_GPIO_Port, &GPIO_InitStruct);

}

void StartDefaultTask(void const * argument)
{

  for(;;)
  {
    osDelay(1);
  }
}

void HAL_TIM_PeriodElapsedCallback(TIM_HandleTypeDef *htim)
{
  if (htim->Instance == TIM1) {
    HAL_IncTick();
  }
}

void Error_Handler(void)
{
}

/************************ (C) COPYRIGHT STMicroelectronics *****END OF FILE****/
